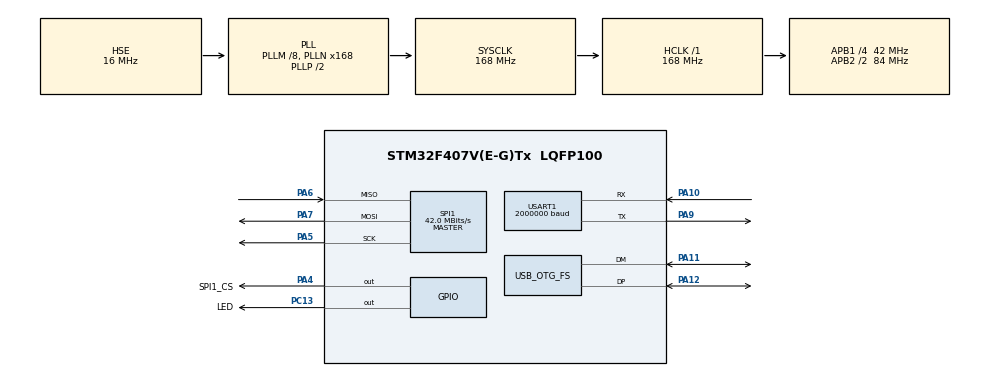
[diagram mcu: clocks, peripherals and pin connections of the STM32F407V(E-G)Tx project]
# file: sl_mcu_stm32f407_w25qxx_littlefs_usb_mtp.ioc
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Mcu.Family=STM32F4
Mcu.Name=STM32F407V(E-G)Tx
Mcu.Package=LQFP100
NVIC.OTG_FS_IRQn=true\:0\:0\:false\:false\:true\:true\:true\:true
NVIC.PriorityGroup=NVIC_PRIORITYGROUP_4
PA10.Mode=Asynchronous
PA10.Signal=USART1_RX
PA11.Mode=Device_Only
PA11.Signal=USB_OTG_FS_DM
PA12.Mode=Device_Only
PA12.Signal=USB_OTG_FS_DP
PA13.Mode=Trace_Asynchronous_SW
PA13.Signal=SYS_JTMS-SWDIO
PA14.Mode=Trace_Asynchronous_SW
PA14.Signal=SYS_JTCK-SWCLK
PA4.GPIO_Label=SPI1_CS
PA4.Signal=GPIO_Output
PA5.Mode=Full_Duplex_Master
PA5.Signal=SPI1_SCK
PA6.Mode=Full_Duplex_Master
PA6.Signal=SPI1_MISO
PA7.Mode=Full_Duplex_Master
PA7.Signal=SPI1_MOSI
PA9.Mode=Asynchronous
PA9.Signal=USART1_TX
PB3.Mode=Trace_Asynchronous_SW
PB3.Signal=SYS_JTDO-SWO
PC13-ANTI_TAMP.GPIO_Label=LED
PC13-ANTI_TAMP.GPIO_ModeDefaultOutputPP=GPIO_MODE_OUTPUT_OD
PC13-ANTI_TAMP.GPIO_PuPd=GPIO_NOPULL
PC13-ANTI_TAMP.PinState=GPIO_PIN_SET
PC13-ANTI_TAMP.Signal=GPIO_Output
PH0-OSC_IN.Mode=HSE-External-Oscillator
PH0-OSC_IN.Signal=RCC_OSC_IN
PH1-OSC_OUT.Mode=HSE-External-Oscillator
PH1-OSC_OUT.Signal=RCC_OSC_OUT
ProjectManager.HeapSize=0x200
ProjectManager.StackSize=0x400
ProjectManager.TargetToolchain=STM32CubeIDE
RCC.48MHZClocksFreq_Value=48000000
RCC.AHBFreq_Value=168000000
RCC.APB1CLKDivider=RCC_HCLK_DIV4
RCC.APB1Freq_Value=42000000
RCC.APB1TimFreq_Value=84000000
RCC.APB2CLKDivider=RCC_HCLK_DIV2
RCC.APB2Freq_Value=84000000
RCC.APB2TimFreq_Value=168000000
RCC.CortexFreq_Value=168000000
RCC.HCLKFreq_Value=168000000
RCC.HSE_VALUE=16000000
RCC.HSI_VALUE=16000000
RCC.LSE_VALUE=32768
RCC.PLLM=8
RCC.PLLN=168
RCC.PLLQ=7
RCC.SYSCLKFreq_VALUE=168000000
RCC.SYSCLKSource=RCC_SYSCLKSOURCE_PLLCLK
RCC.VCOOutputFreq_Value=336000000
SPI1.CalculateBaudRate=42.0 MBits/s
SPI1.Direction=SPI_DIRECTION_2LINES
SPI1.Mode=SPI_MODE_MASTER
SPI1.VirtualType=VM_MASTER
USART1.BaudRate=2000000
USART1.VirtualMode=VM_ASYNC
USB_OTG_FS.VirtualMode=Device_Only
VP_CRC_VS_CRC.Mode=CRC_Activate
board=custom

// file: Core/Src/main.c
/* USER CODE BEGIN Header */
/**
 ******************************************************************************
 * @file           : main.c
 * @brief          : Main program body
 ******************************************************************************
 * @attention
 *
 * Copyright (c) 2026 Lars Boegild Thomsen <lbthomsen@gmail.com>
 * All rights reserved.
 *
 * This software is licensed under terms that can be found in the LICENSE file
 * in the root directory of this software component.
 * If no LICENSE file comes with this software, it is provided AS-IS.
 *
 ******************************************************************************
 */
/* USER CODE END Header */
#include "main.h"

/* USER CODE BEGIN Includes */
#include <stdio.h>
#include <string.h>
#include "lfs.h"
#include "w25qxx.h"

#include "w25qxx_littlefs.h"

#include "tusb.h"
/* USER CODE END Includes */

/* USER CODE BEGIN PD */
#define PAGE_SIZE 4096

#define TEST_FILE_BUFFER_SIZE 256
#define TEST_FILE_SIZE (4 * 128) // Number of buffers
/* USER CODE END PD */

CRC_HandleTypeDef hcrc;

SPI_HandleTypeDef hspi1;

UART_HandleTypeDef huart1;

PCD_HandleTypeDef hpcd_USB_OTG_FS;

/* USER CODE BEGIN PV */
W25QXX_HandleTypeDef w25qxx; // Handler for all w25qxx operations!

lfs_file_t file;
lfs_dir_t dir;
struct lfs_info info;

/* USER CODE END PV */

void SystemClock_Config(void);
static void MX_GPIO_Init(void);
static void MX_SPI1_Init(void);
static void MX_CRC_Init(void);
static void MX_USART1_UART_Init(void);
static void MX_USB_OTG_FS_PCD_Init(void);

/* USER CODE BEGIN 0 */

// Send printf to uart1
int __io_putchar(int ch) {
    if (ch == '\n') {
        HAL_UART_Transmit(&huart1, (uint8_t*) "\r", 1, HAL_MAX_DELAY);
    }
    if (HAL_UART_Transmit(&huart1, (uint8_t*) &ch, 1, HAL_MAX_DELAY) != HAL_OK) {
        return -1;
    }
    return ch;
}

// Dump hex to serial console
void dump_hex(char *header, uint32_t start, uint8_t *buf, uint32_t len) {
    uint32_t i = 0;

    printf("%s\r\n", header);

    for (i = 0; i < len; ++i) {

        if (i % 16 == 0) {
            printf("0x%08lx: ", start);
        }

        printf("%02x ", buf[i]);

        if ((i + 1) % 16 == 0) {
            printf("\r\n");
        }

        ++start;
    }
}

void fill_buffer(uint8_t pattern, uint8_t *buf, uint32_t len) {
    switch (pattern) {
    case 0:
        memset(buf, 0, len);
        break;
    case 1:
        memset(buf, 0xaa, len); // 10101010
        break;
    case 2:
        for (uint32_t i = 0; i < len; ++i)
            buf[i] = i % 256;
        break;
    default:
        printf("Programmer is a moron\n");
    }
}

uint8_t check_buffer(uint8_t pattern, uint8_t *buf, uint32_t len) {

    uint8_t ret = 1;

    switch (pattern) {
    case 0:
        for (uint32_t i = 0; i < len; ++i) {
            if (buf[i] != 0)
                ret = 0;
        }
        break;
    case 1:
        for (uint32_t i = 0; i < len; ++i) {
            if (buf[i] != 0xaa)
                ret = 0;
        }
        break;
    case 2:
        for (uint32_t i = 0; i < len; ++i) {
            if (buf[i] != i % 256)
                ret = 0;
        }
        break;
    default:
        printf("Programmer is a moron\n");
    }

    return ret;
}

uint32_t get_sum(uint8_t *buf, uint32_t len) {
    uint32_t sum = 0;
    for (uint32_t i = 0; i < len; ++i) {
        sum += buf[i];
    }
    return sum;
}

/* USER CODE END 0 */

int main(void)
{

    /* MCU Configuration--------------------------------------------------------*/

    /* Reset of all peripherals, Initializes the Flash interface and the Systick. */
    HAL_Init();

    /* Configure the system clock */
    SystemClock_Config();

    /* Initialize all configured peripherals */
    MX_GPIO_Init();
    MX_SPI1_Init();
    MX_CRC_Init();
    MX_USART1_UART_Init();
    MX_USB_OTG_FS_PCD_Init();
    /* USER CODE BEGIN 2 */

    printf("\n\n\n--------\nCore and peripherals has been initialized\n");

    HAL_Delay(500); // Wait a bit to make sure the w25qxx is ready

    W25QXX_result_t res;

    res = w25qxx_init(&w25qxx, &hspi1, SPI1_CS_GPIO_Port, SPI1_CS_Pin);

    if (res == W25QXX_Ok) {
        printf("W25QXX successfully initialized\n");
        printf("Manufacturer       = 0x%2x\n", w25qxx.manufacturer_id);
        printf("Device             = 0x%4x\n", w25qxx.device_id);
        printf("Block size         = 0x%04lx (%lu)\n", w25qxx.block_size, w25qxx.block_size);
        printf("Block count        = 0x%04lx (%lu)\n", w25qxx.block_count, w25qxx.block_count);
        printf("Sector size        = 0x%04lx (%lu)\n", w25qxx.sector_size, w25qxx.sector_size);
        printf("Sectors per block  = 0x%04lx (%lu)\n", w25qxx.sectors_in_block, w25qxx.sectors_in_block);
        printf("Page size          = 0x%04lx (%lu)\n", w25qxx.page_size, w25qxx.page_size);
        printf("Pages per sector   = 0x%04lx (%lu)\n", w25qxx.pages_in_sector, w25qxx.pages_in_sector);
        printf("Total size (in kB) = 0x%04lx (%lu)\n", (w25qxx.block_count * w25qxx.block_size) / 1024, (w25qxx.block_count * w25qxx.block_size) / 1024);
    } else {
        printf("Unable to initialize w25qxx\n");
    }

    w25qxx_littlefs_init(&w25qxx, 2); // Reserve 2 MB at the beginning of the flash

    // read current count
    uint32_t boot_count = 0;

    if (lfs_file_open(&littlefs, &file, "boot_count", LFS_O_RDWR | LFS_O_CREAT) == LFS_ERR_OK) {
        if (lfs_file_read(&littlefs, &file, &boot_count, sizeof(boot_count)) >= 0) {
            // update boot count
            ++boot_count;
            lfs_file_rewind(&littlefs, &file);
            if (lfs_file_write(&littlefs, &file, &boot_count, sizeof(boot_count)) >= 0) {
                printf("Boot count file updated\n");
                // remember the storage is not updated until the file is closed successfully
                lfs_file_close(&littlefs, &file);
            } else {
                printf("Unable to write boot count file\n");
                Error_Handler();
            }
        } else {
            printf("Unable to read boot count file\n");
            Error_Handler();
        }
    } else {
        printf("Unable to open boot count file\n");
        Error_Handler();
    }

    uint32_t start_uptime = 0;

    lfs_file_open(&littlefs, &file, "uptime", LFS_O_RDWR | LFS_O_CREAT);
    lfs_file_read(&littlefs, &file, &start_uptime, sizeof(start_uptime));
    lfs_file_close(&littlefs, &file);

    printf("Boot count = %lu start uptime = %lu s\n", boot_count, start_uptime);

    printf("Running speed test\n");
    if (lfs_file_open(&littlefs, &file, "speed.dat", LFS_O_RDWR | LFS_O_CREAT | LFS_O_TRUNC) == LFS_ERR_OK) {

        lfs_file_rewind(&littlefs, &file);

        uint8_t buf[TEST_FILE_BUFFER_SIZE];
        for (int i = 0; i < TEST_FILE_BUFFER_SIZE; ++i)
            buf[i] = (uint8_t) i; // Fill the buffer

        uint32_t start = uwTick;

        for (int i = 0; i < TEST_FILE_SIZE; ++i) {

            lfs_file_write(&littlefs, &file, &buf, sizeof(buf));

        }

        lfs_file_close(&littlefs, &file);

        printf("Write %lu B took %lu ms\n", (uint32_t) (TEST_FILE_SIZE * TEST_FILE_BUFFER_SIZE), uwTick - start);

    } else {
        printf("Unable to open speed.dat file\n");
        Error_Handler();
    }

    // Initialize the TinyUSB device stack
    printf("Initializing TinyUSB Device Stack...\n");
    tusb_init();

    /* USER CODE END 2 */

    /* Infinite loop */
    /* USER CODE BEGIN WHILE */
    uint32_t now = 0, next_blink = 0, next_tick = 0;

    while (1) {

        tud_task(); // <-- Add this right at the top of the loop

        now = uwTick;

        if (now >= next_blink) {

            HAL_GPIO_TogglePin(LED_GPIO_Port, LED_Pin);

            next_blink = now + 500;
        }

        if (now >= next_tick) {
            uint32_t total_uptime = start_uptime + now / 1000;

            if (!(total_uptime % 60)) { // Every minute only
                uint32_t start = HAL_GetTick();
                lfs_file_open(&littlefs, &file, "uptime", LFS_O_RDWR);
                lfs_file_rewind(&littlefs, &file);
                lfs_file_write(&littlefs, &file, &total_uptime, sizeof(total_uptime));
                lfs_file_close(&littlefs, &file);
                printf("File update took %lu ms\n", HAL_GetTick() - start);
            }

            printf("Total uptime = %lu s\n", total_uptime);

            next_tick = now + 1000;
        }

        /* USER CODE END WHILE */

    }
}

void SystemClock_Config(void)
{
    RCC_OscInitTypeDef RCC_OscInitStruct = { 0 };
    RCC_ClkInitTypeDef RCC_ClkInitStruct = { 0 };

    /** Configure the main internal regulator output voltage
     */
    __HAL_RCC_PWR_CLK_ENABLE();
    __HAL_PWR_VOLTAGESCALING_CONFIG(PWR_REGULATOR_VOLTAGE_SCALE1);

    /** Initializes the RCC Oscillators according to the specified parameters
     * in the RCC_OscInitTypeDef structure.
     */
    RCC_OscInitStruct.OscillatorType = RCC_OSCILLATORTYPE_HSE;
    RCC_OscInitStruct.HSEState = RCC_HSE_ON;
    RCC_OscInitStruct.PLL.PLLState = RCC_PLL_ON;
    RCC_OscInitStruct.PLL.PLLSource = RCC_PLLSOURCE_HSE;
    RCC_OscInitStruct.PLL.PLLM = 8;
    RCC_OscInitStruct.PLL.PLLN = 168;
    RCC_OscInitStruct.PLL.PLLP = RCC_PLLP_DIV2;
    RCC_OscInitStruct.PLL.PLLQ = 7;
    if (HAL_RCC_OscConfig(&RCC_OscInitStruct) != HAL_OK)
            {
        Error_Handler();
    }

    /** Initializes the CPU, AHB and APB buses clocks
     */
    RCC_ClkInitStruct.ClockType = RCC_CLOCKTYPE_HCLK | RCC_CLOCKTYPE_SYSCLK
            | RCC_CLOCKTYPE_PCLK1 | RCC_CLOCKTYPE_PCLK2;
    RCC_ClkInitStruct.SYSCLKSource = RCC_SYSCLKSOURCE_PLLCLK;
    RCC_ClkInitStruct.AHBCLKDivider = RCC_SYSCLK_DIV1;
    RCC_ClkInitStruct.APB1CLKDivider = RCC_HCLK_DIV4;
    RCC_ClkInitStruct.APB2CLKDivider = RCC_HCLK_DIV2;

    if (HAL_RCC_ClockConfig(&RCC_ClkInitStruct, FLASH_LATENCY_5) != HAL_OK)
            {
        Error_Handler();
    }
}

static void MX_CRC_Init(void)
{

    hcrc.Instance = CRC;
    if (HAL_CRC_Init(&hcrc) != HAL_OK)
            {
        Error_Handler();
    }

}

static void MX_SPI1_Init(void)
{

    /* SPI1 parameter configuration*/
    hspi1.Instance = SPI1;
    hspi1.Init.Mode = SPI_MODE_MASTER;
    hspi1.Init.Direction = SPI_DIRECTION_2LINES;
    hspi1.Init.DataSize = SPI_DATASIZE_8BIT;
    hspi1.Init.CLKPolarity = SPI_POLARITY_LOW;
    hspi1.Init.CLKPhase = SPI_PHASE_1EDGE;
    hspi1.Init.NSS = SPI_NSS_SOFT;
    hspi1.Init.BaudRatePrescaler = SPI_BAUDRATEPRESCALER_2;
    hspi1.Init.FirstBit = SPI_FIRSTBIT_MSB;
    hspi1.Init.TIMode = SPI_TIMODE_DISABLE;
    hspi1.Init.CRCCalculation = SPI_CRCCALCULATION_DISABLE;
    hspi1.Init.CRCPolynomial = 10;
    if (HAL_SPI_Init(&hspi1) != HAL_OK)
            {
        Error_Handler();
    }

}

static void MX_USART1_UART_Init(void)
{

    huart1.Instance = USART1;
    huart1.Init.BaudRate = 2000000;
    huart1.Init.WordLength = UART_WORDLENGTH_8B;
    huart1.Init.StopBits = UART_STOPBITS_1;
    huart1.Init.Parity = UART_PARITY_NONE;
    huart1.Init.Mode = UART_MODE_TX_RX;
    huart1.Init.HwFlowCtl = UART_HWCONTROL_NONE;
    huart1.Init.OverSampling = UART_OVERSAMPLING_16;
    if (HAL_UART_Init(&huart1) != HAL_OK)
            {
        Error_Handler();
    }

}

static void MX_USB_OTG_FS_PCD_Init(void)
{

    hpcd_USB_OTG_FS.Instance = USB_OTG_FS;
    hpcd_USB_OTG_FS.Init.dev_endpoints = 4;
    hpcd_USB_OTG_FS.Init.speed = PCD_SPEED_FULL;
    hpcd_USB_OTG_FS.Init.dma_enable = DISABLE;
    hpcd_USB_OTG_FS.Init.phy_itface = PCD_PHY_EMBEDDED;
    hpcd_USB_OTG_FS.Init.Sof_enable = DISABLE;
    hpcd_USB_OTG_FS.Init.low_power_enable = DISABLE;
    hpcd_USB_OTG_FS.Init.lpm_enable = DISABLE;
    hpcd_USB_OTG_FS.Init.vbus_sensing_enable = DISABLE;
    hpcd_USB_OTG_FS.Init.use_dedicated_ep1 = DISABLE;
    if (HAL_PCD_Init(&hpcd_USB_OTG_FS) != HAL_OK)
            {
        Error_Handler();
    }

}

static void MX_GPIO_Init(void)
{
    GPIO_InitTypeDef GPIO_InitStruct = { 0 };

    /* GPIO Ports Clock Enable */
    __HAL_RCC_GPIOC_CLK_ENABLE();
    __HAL_RCC_GPIOH_CLK_ENABLE();
    __HAL_RCC_GPIOA_CLK_ENABLE();
    __HAL_RCC_GPIOB_CLK_ENABLE();

    /*Configure GPIO pin Output Level */
    HAL_GPIO_WritePin(LED_GPIO_Port, LED_Pin, GPIO_PIN_SET);

    /*Configure GPIO pin Output Level */
    HAL_GPIO_WritePin(SPI1_CS_GPIO_Port, SPI1_CS_Pin, GPIO_PIN_RESET);

    /*Configure GPIO pin : LED_Pin */
    GPIO_InitStruct.Pin = LED_Pin;
    GPIO_InitStruct.Mode = GPIO_MODE_OUTPUT_OD;
    GPIO_InitStruct.Pull = GPIO_NOPULL;
    GPIO_InitStruct.Speed = GPIO_SPEED_FREQ_LOW;
    HAL_GPIO_Init(LED_GPIO_Port, &GPIO_InitStruct);

    /*Configure GPIO pin : SPI1_CS_Pin */
    GPIO_InitStruct.Pin = SPI1_CS_Pin;
    GPIO_InitStruct.Mode = GPIO_MODE_OUTPUT_PP;
    GPIO_InitStruct.Pull = GPIO_NOPULL;
    GPIO_InitStruct.Speed = GPIO_SPEED_FREQ_LOW;
    HAL_GPIO_Init(SPI1_CS_GPIO_Port, &GPIO_InitStruct);

}

void Error_Handler(void)
{
    __disable_irq();
    while (1)
    {
    }
}
